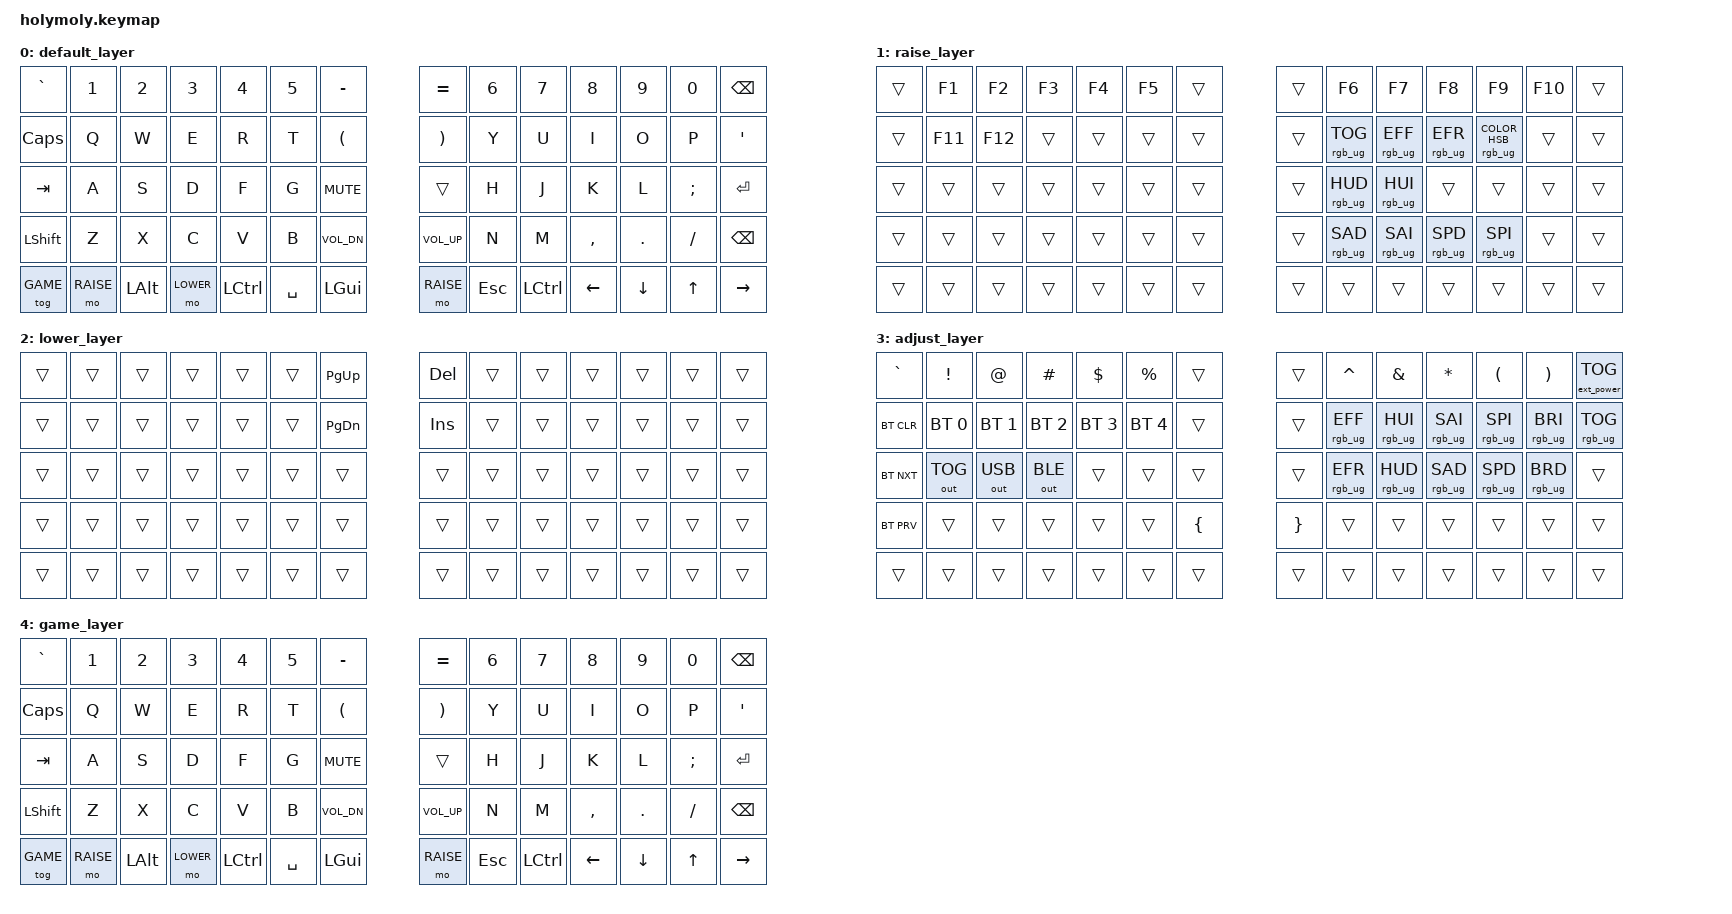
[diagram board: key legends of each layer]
/*
 * Copyright (c) 2020 The ZMK Contributors
 *
 * SPDX-License-Identifier: MIT
 */

 #include <behaviors.dtsi>
 #include <dt-bindings/zmk/keys.h>
 #include <dt-bindings/zmk/bt.h>
 #include <dt-bindings/zmk/rgb.h>
 #include <dt-bindings/zmk/ext_power.h>
 #include <dt-bindings/zmk/outputs.h>

 #define DEFAULT 0
 #define LOWER  1
 #define RAISE  2
 #define ADJUST 3
 #define GAME 4


/* NOTE: At the time of the creation of this keymap, there are no specified codes for 'eisuu' and 'kana' input in ZMK.
However, 'LANG1' and 'LANG2' are fully-functioning candidates for 'kana' and 'eisuu' input respectively.
As such, those are in use within the default layer at this time.*/

/ {
       keymap {
              compatible = "zmk,keymap";
 
              default_layer {
                     bindings = <
       &kp GRAVE   &kp N1  &kp N2   &kp N3   &kp N4    &kp N5    &kp MINUS               &kp EQUAL &kp N6    &kp N7    &kp N8    &kp N9     &kp N0    &kp BSPC
       &kp CAPS    &kp Q   &kp W    &kp E    &kp R     &kp T     &kp LPAR                &kp RPAR  &kp Y     &kp U     &kp I     &kp O      &kp P     &kp SQT
       &kp TAB     &kp A   &kp S    &kp D    &kp F     &kp G     &kp C_MUTE              &trans    &kp H     &kp J     &kp K     &kp L      &kp SEMI  &kp RET
       &kp LSHFT   &kp Z   &kp X    &kp C    &kp V     &kp B     &kp C_VOL_DN            &kp C_VOL_UP  &kp N     &kp M     &kp COMMA &kp PERIOD &kp SLASH &kp BSPC
       &tog GAME   &mo RAISE &kp LALT &mo LOWER &kp LCTRL  &kp SPACE &kp LGUI            &mo RAISE &kp ESC &kp LCTRL &kp LEFT  &kp DOWN   &kp UP    &kp RIGHT
                     >;
              };

/* Keymap 0: Basic QWERTY layer
 *
 * ,---------------------------------------------.           ,---------------------------------------------.
 * |   `    |  1  |  2  |  3  |  4  |  5  |  -   |           |  =  |  6  |  7  |  8  |  9  |  0  | Backsp |
 * |--------+-----+-----+-----+-----+------------|           |------+-----+-----+-----+-----+-----+--------|
 * |  Upcas |  Q  |  W  |  E  |  R  |  T  |  {[  |           |  ]}   |  Y  |  U  |  I  |  O  |  P  |   '    |
 * |--------+-----+-----+-----+-----+-----|------|           |------|-----+-----+-----+-----+-----+--------|
 * |  Tab   |  A  |  S  |  D  |  F  |  G  | mute |           | stop |  H  |  J  |  K  |  L  |  ;  |  Enter |
 * |--------+-----+-----+-----+-----+-----|------|           |------|-----+-----+-----+-----+-----+--------|
 * | LShift |  Z  |  X  |  C  |  V  |  B  | vol- |           | vol+ |  N  |  M  |  ,  |  .  |  /  |  \     |
 * `--------+-----+-----+-----+-----+------------'           `------------+-----+-----+-----+-----+--------'
 *  | fn(4)   |fn(2)| Alt |fn(1)|ctrl | win | spac |           | ESC  |fn(2)|ctrl |Left |Down | Up  | Right |
 *  `--------------------------------------------'           '--------------------------------------------'
 *
 *                                 ,-------------.           ,-------------.
 *                                 | mute | vol- |           | vol+ | stop |
 *                                 |------|------|           |------|------|
 *                                 | spac | win  |           | Fn(2)| ESC  |
 *                                 '------'------'           '------'------'
 *
 */



              raise_layer {
                     bindings = <
       &trans    &kp F1   &kp F2 &kp F3   &kp F4   &kp F5    &trans          &trans &kp F6    &kp F7  &kp F8   &kp F9   &kp F10   &trans
       &trans    &kp F11   &kp F12 &trans   &trans   &trans    &trans        &trans &rgb_ug RGB_TOG    &rgb_ug RGB_EFF  &rgb_ug RGB_EFR   &rgb_ug RGB_COLOR_HSB(0,140,255)   &trans    &trans
       &trans    &trans   &trans &trans   &trans   &trans    &trans          &trans &rgb_ug RGB_HUD    &rgb_ug RGB_HUI  &trans   &trans   &trans    &trans
       &trans    &trans   &trans &trans   &trans   &trans    &trans          &trans &rgb_ug RGB_SAD    &rgb_ug RGB_SAI  &rgb_ug RGB_SPD   &rgb_ug RGB_SPI   &trans    &trans
       &trans    &trans   &trans &trans   &trans   &trans    &trans          &trans &trans    &trans  &trans   &trans   &trans    &trans
                     >;
              };


/*
 *
 *
 * ,----------------------------------------------------.      ,--------------------------------------------------------.
 * |        | F1  | F2  | F3  | F4  | F5      |         |      |       | F6    | F7     | F8     | F9     | F10  |      |
 * |--------+-----+-----+-----+-----+-------------------|      |-------+-------+--------+--------+--------+------+------|
 * |        | F11 | F12 |     |     |         |    (    |      |  )    |RGB_TOG|RGB_MOD |RGB_RMOD| RGB_M_P|      |      |
 * |--------+-----+-----+-----+-----+---------|---------|      |-------+-------+--------+--------+--------+------+------|
 * |        |     |     |     |     |         |         |      |       |RGB_HUD|RGB_HUI |RGB_VAD | RGB_VAI|      |      |
 * |--------+-----+-----+-----+-----+---------|---------|      |-------+-------+--------+--------+--------+------+------|
 * |        |     |     |     |     | KC_PWR  | KC_SLEP |      |       |RGB_SAD|RGB_SAI |RGB_SPD | RGB_SPI|      |      |
 * `--------+-----+-----+-----+-----+-------------------|      |-------+-------+--------+--------+--------+------+------'
 *  |       |     |     |     |     |KC_POWER | KC_WAKE |      |       |       |        |        |        |      |      |
 *  `---------------------------------------------------'      '--------------------------------------------------------'
 * 
 *                                     ,----------------.      ,-------------.
 *                                     | KC_PWR |KC_SLEP|      |      |      |
 *                                     |--------|-------|      |------|------|
 *                                     |        |KC_WAKE|      |      |      |
 *                                     '--------'-------'      '------'------'
 *
 *
*/


              lower_layer {
                     bindings = <
       &trans    &trans &trans &trans &trans  &trans  &kp PG_UP        &kp DEL &trans  &trans    &trans     &trans       &trans       &trans
       &trans    &trans &trans &trans &trans  &trans  &kp PG_DN        &kp INS  &trans  &trans    &trans     &trans       &trans       &trans
       &trans    &trans &trans &trans &trans  &trans  &trans        &trans &trans  &trans    &trans     &trans       &trans       &trans
       &trans    &trans &trans &trans &trans  &trans  &trans        &trans &trans  &trans    &trans     &trans       &trans       &trans
       &trans    &trans &trans &trans &trans  &trans  &trans        &trans &trans  &trans    &trans     &trans       &trans       &trans
                     >;
              };



              adjust_layer {
                     bindings = <
       &kp GRAVE  &kp EXCL     &kp AT       &kp HASH     &kp DLLR     &kp PRCNT    &trans          &trans   &kp CARET       &kp AMPS        &kp ASTRK       &kp LPAR        &kp RPAR        &ext_power EP_TOG
       &bt BT_CLR &bt BT_SEL 0 &bt BT_SEL 1 &bt BT_SEL 2 &bt BT_SEL 3 &bt BT_SEL 4 &trans          &trans   &rgb_ug RGB_EFF &rgb_ug RGB_HUI &rgb_ug RGB_SAI &rgb_ug RGB_SPI &rgb_ug RGB_BRI &rgb_ug RGB_TOG 
       &bt BT_NXT &out OUT_TOG &out OUT_USB &out OUT_BLE &trans       &trans       &trans          &trans   &rgb_ug RGB_EFR &rgb_ug RGB_HUD &rgb_ug RGB_SAD &rgb_ug RGB_SPD &rgb_ug RGB_BRD &trans
       &bt BT_PRV &trans       &trans       &trans       &trans       &trans       &kp LBRC        &kp RBRC &trans          &trans          &trans          &trans          &trans          &trans
       &trans     &trans       &trans       &trans       &trans       &trans       &trans          &trans   &trans          &trans          &trans          &trans          &trans          &trans
                     >;
              };

              game_layer {
                     bindings = <
       &kp GRAVE   &kp N1  &kp N2   &kp N3   &kp N4    &kp N5    &kp MINUS               &kp EQUAL &kp N6    &kp N7    &kp N8    &kp N9     &kp N0    &kp BSPC
       &kp CAPS    &kp Q   &kp W    &kp E    &kp R     &kp T     &kp LPAR                &kp RPAR  &kp Y     &kp U     &kp I     &kp O      &kp P     &kp SQT
       &kp TAB     &kp A   &kp S    &kp D    &kp F     &kp G     &kp C_MUTE              &trans    &kp H     &kp J     &kp K     &kp L      &kp SEMI  &kp RET
       &kp LSHFT   &kp Z   &kp X    &kp C    &kp V     &kp B     &kp C_VOL_DN            &kp C_VOL_UP  &kp N     &kp M     &kp COMMA &kp PERIOD &kp SLASH &kp BSPC
       &tog GAME   &mo RAISE &kp LALT &mo LOWER &kp LCTRL  &kp SPACE &kp LGUI            &mo RAISE &kp ESC &kp LCTRL &kp LEFT  &kp DOWN   &kp UP    &kp RIGHT
                     >;
              };




       };
};
